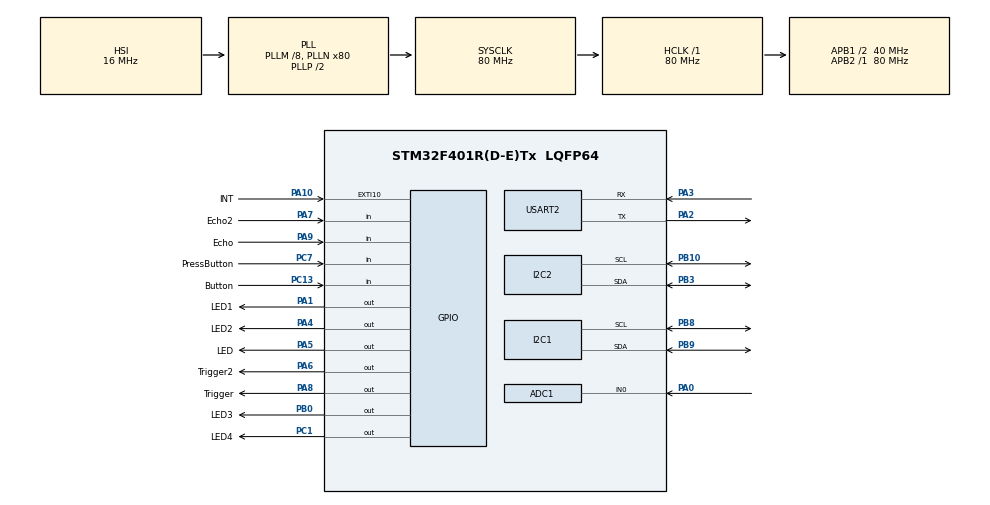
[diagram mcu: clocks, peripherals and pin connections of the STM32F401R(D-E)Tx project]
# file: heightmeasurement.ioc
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ADC1.Channel-0\#ChannelRegularConversion=ADC_CHANNEL_0
ADC1.ClockPrescaler=ADC_CLOCK_SYNC_PCLK_DIV8
ADC1.NbrOfConversionFlag=1
ADC1.Rank-0\#ChannelRegularConversion=1
ADC1.SamplingTime-0\#ChannelRegularConversion=ADC_SAMPLETIME_3CYCLES
ADC1.master=1
Mcu.Family=STM32F4
Mcu.Name=STM32F401R(D-E)Tx
Mcu.Package=LQFP64
NVIC.EXTI15_10_IRQn=true\:0\:0\:false\:false\:true\:true\:true\:true
NVIC.PriorityGroup=NVIC_PRIORITYGROUP_0
PA0-WKUP.Signal=ADCx_IN0
PA1.GPIO_Label=LED1
PA1.Signal=GPIO_Output
PA10.GPIO_Label=INT
PA10.GPIO_ModeDefaultEXTI=GPIO_MODE_IT_FALLING
PA10.GPIO_PuPd=GPIO_PULLUP
PA10.Signal=GPXTI10
PA2.Mode=Asynchronous
PA2.Signal=USART2_TX
PA3.Mode=Asynchronous
PA3.Signal=USART2_RX
PA4.GPIO_Label=LED2
PA4.Signal=GPIO_Output
PA5.GPIO_Label=LED
PA5.Signal=GPIO_Output
PA6.GPIO_Label=Trigger2
PA6.Signal=GPIO_Output
PA7.GPIO_Label=Echo2
PA7.Signal=GPIO_Input
PA8.GPIO_Label=Trigger
PA8.Signal=GPIO_Output
PA9.GPIO_Label=Echo
PA9.Signal=GPIO_Input
PB0.GPIO_Label=LED3
PB0.Signal=GPIO_Output
PB10.GPIO_Pu=GPIO_PULLUP
PB10.Mode=I2C
PB10.Signal=I2C2_SCL
PB3.GPIO_Pu=GPIO_PULLUP
PB3.Mode=I2C
PB3.Signal=I2C2_SDA
PB8.Mode=I2C
PB8.Signal=I2C1_SCL
PB9.Mode=I2C
PB9.Signal=I2C1_SDA
PC1.GPIO_Label=LED4
PC1.Signal=GPIO_Output
PC13-ANTI_TAMP.GPIO_Label=Button
PC13-ANTI_TAMP.Signal=GPIO_Input
PC7.GPIO_Label=PressButton
PC7.Signal=GPIO_Input
PH0\ -\ OSC_IN.Mode=HSE-External-Oscillator
PH0\ -\ OSC_IN.Signal=RCC_OSC_IN
PH1\ -\ OSC_OUT.Mode=HSE-External-Oscillator
PH1\ -\ OSC_OUT.Signal=RCC_OSC_OUT
ProjectManager.HeapSize=0x200
ProjectManager.StackSize=0x400
ProjectManager.TargetToolchain=STM32CubeIDE
RCC.48MHZClocksFreq_Value=22857142.85714286
RCC.AHBFreq_Value=80000000
RCC.APB1CLKDivider=RCC_HCLK_DIV2
RCC.APB1Freq_Value=40000000
RCC.APB1TimFreq_Value=80000000
RCC.APB2Freq_Value=80000000
RCC.APB2TimFreq_Value=80000000
RCC.CortexFreq_Value=80000000
RCC.HCLKFreq_Value=80000000
RCC.HSE_VALUE=8000000
RCC.HSI_VALUE=16000000
RCC.LSE_VALUE=32768
RCC.PLLM=8
RCC.PLLN=80
RCC.PLLQ=7
RCC.SYSCLKFreq_VALUE=80000000
RCC.SYSCLKSource=RCC_SYSCLKSOURCE_PLLCLK
RCC.VCOOutputFreq_Value=160000000
SH.ADCx_IN0.0=ADC1_IN0,IN0
TIM10.Prescaler=8000-1
TIM4.Prescaler=84-1
USART2.VirtualMode=VM_ASYNC
VP_TIM10_VS_ClockSourceINT.Mode=Enable_Timer
VP_TIM4_VS_ClockSourceINT.Mode=Internal
board=NUCLEO-F401RE

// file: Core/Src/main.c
/* USER CODE BEGIN Header */
/**
  ******************************************************************************
  * @file           : main.c
  * @brief          : Main program body
  ******************************************************************************
  * @attention
  *
  * Copyright (c) 2022 STMicroelectronics.
  * All rights reserved.
  *
  * This software is licensed under terms that can be found in the LICENSE file
  * in the root directory of this software component.
  * If no LICENSE file comes with this software, it is provided AS-IS.
  *
  ******************************************************************************
  */
/* USER CODE END Header */
#include "main.h"

/* USER CODE BEGIN Includes */
#include <string.h>
#include <stdio.h>
#include "MAX30102/MAX30102.h"
/* USER CODE END Includes */

/* USER CODE BEGIN PTD */
#define usTIM TIM4
/* USER CODE END PTD */

ADC_HandleTypeDef hadc1;

I2C_HandleTypeDef hi2c1;
I2C_HandleTypeDef hi2c2;

TIM_HandleTypeDef htim4;
TIM_HandleTypeDef htim10;

UART_HandleTypeDef huart2;

/* USER CODE BEGIN PV */
GPIO_PinState button;
uint32_t numTicks;
uint8_t state;
int16_t ambient_temperature;
int16_t object_temperature;
int heightdistance;
int height;
int BPM;
char uartBuf[100];
char uartBuf2[100];
/* USER CODE END PV */

void SystemClock_Config(void);
static void MX_GPIO_Init(void);
static void MX_USART2_UART_Init(void);
static void MX_TIM4_Init(void);
static void MX_ADC1_Init(void);
static void MX_TIM10_Init(void);
static void MX_I2C1_Init(void);
static void MX_I2C2_Init(void);
/* USER CODE BEGIN PFP */
void usDelay(uint32_t uSec);
void setLED();
void scanMLX90614();
int getHeight(uint32_t fixedHeight);
int isButtonLiftUp();
int isButtonHold();
/* USER CODE END PFP */

/* USER CODE BEGIN 0 */
const float speedOfSound = 0.0343/2;
const int BPM_N = 10;
char data[32] = " ";
char data1[32] = " ";
short buttonInput[2] = {0};
int BPM_final = 0;
int BPM_CNT = 0;
int spo2 = 0;
uint8_t Buffer[25] = {0};
uint8_t Space[] = " - ";
uint8_t StartMSG[] = "Starting I2C Scanning: \r\n";
uint8_t EndMSG[] = "Done! \r\n\r\n";
GPIO_TypeDef* LEDPorts[4] = {
		LED1_GPIO_Port,
		LED2_GPIO_Port,
		LED3_GPIO_Port,
		LED4_GPIO_Port
};
uint8_t LEDPins[4] = {
		LED1_Pin,
		LED2_Pin,
		LED3_Pin,
		LED4_Pin
};
void HAL_GPIO_EXTI_Callback(uint16_t GPIO_Pin)
{
	if (GPIO_Pin == INT_Pin)
	{
		Max30102_InterruptCallback();
	}
}
/* USER CODE END 0 */

int main(void)
{
  /* USER CODE BEGIN 1 */
	char uart_buf[50];
	int uart_buf_len;
	state = 0;
  /* USER CODE END 1 */

  /* MCU Configuration--------------------------------------------------------*/

  /* Reset of all peripherals, Initializes the Flash interface and the Systick. */
  HAL_Init();

  /* Configure the system clock */
  SystemClock_Config();

  /* Initialize all configured peripherals */
  MX_GPIO_Init();
  MX_USART2_UART_Init();
  MX_TIM4_Init();
  MX_ADC1_Init();
  MX_TIM10_Init();
  MX_I2C1_Init();
  MX_I2C2_Init();
  /* USER CODE BEGIN 2 */
	uint8_t data_read[4];
	uint8_t data_read1[4];
	int16_t aux;
	int16_t aux1;

	uart_buf_len = sprintf(uart_buf, "Timer\r\n");
	HAL_UART_Transmit(&huart2,(uint8_t *)uart_buf, uart_buf_len, 100);

	//Start timer
	HAL_TIM_Base_Start(&htim10);

	HAL_ADC_Start(&hadc1);

	uint16_t timer_val;

	int nb_beat=0;
	int ang_sensor_old=0;
	int ang_sensor;

	int ok=0;
	int BPM_list[30];

	if (Max30102_Init(&hi2c2) == MAX30102_ERROR) {
		uart_buf_len = sprintf(uart_buf, "Initialize max30102 not working!");
		HAL_UART_Transmit(&huart2, (uint8_t *)uart_buf, uart_buf_len, 100);
		exit(0);
	}
	uart_buf_len = sprintf(uart_buf, "Initialized max30102 successfully");
	HAL_UART_Transmit(&huart2, (uint8_t *)uart_buf, uart_buf_len, 100);
	int curint = HAL_GPIO_ReadPin(GPIOA, GPIO_PIN_10);
  /* USER CODE END 2 */

  /* Infinite loop */
  /* USER CODE BEGIN WHILE */
//  scanMLX90614();
  while (1)
  {
    /* USER CODE END WHILE */

    /* USER CODE BEGIN 3 */
    buttonInput[1] = HAL_GPIO_ReadPin(PressButton_GPIO_Port, PressButton_Pin);

    setLED();

	switch(state)
	{
		case 0:
			if(isButtonHold())
			{
				height = getHeight(200);
			}
			break;
		case 1:
			if(isButtonHold())
			{
				HAL_I2C_Mem_Read(&hi2c1,(0x5A<<1), 0x06, 1, (uint8_t *)data_read, 2, 100);

				aux = (int16_t) ((data_read[1] << 8) | data_read[0]);
				ambient_temperature = aux * 0.02 - 273.15;

				HAL_Delay(100);

				HAL_I2C_Mem_Read(&hi2c1,(0x5A<<1), 0x07, 1, (uint8_t *)data_read1, 2, 100);

				aux1 = (int16_t) ((data_read1[1] << 8) | data_read1[0]);
				object_temperature = aux1 * 0.02 - 273.15;

				HAL_Delay(100);

//				sprintf(data,"\n\r \f Ambient = %d \n\r", ambient_temperature);
//
//				sprintf(data1,"\f Object = %d \n\r", ambient_temperature1);
//
//				HAL_UART_Transmit(&huart2, (uint8_t*)data, strlen(data), 1000);
//				HAL_UART_Transmit(&huart2, (uint8_t*)data1, strlen(data1), 1000);
			}
			break;
		case 2:
			{
				HAL_ADC_Start(&hadc1);
				if(BPM_CNT < BPM_N)
				{
					if (HAL_ADC_PollForConversion(&hadc1, 1000) == HAL_OK)
					{
						ang_sensor = HAL_ADC_GetValue(&hadc1);

						// Serial plotter debug
//						uart_buf_len = sprintf(uart_buf, "%d, %d \r\n", ang_sensor,ok);
//						HAL_UART_Transmit(&huart2, (uint8_t *)uart_buf, uart_buf_len, 100);

						ok = (int) (ang_sensor>2100 && ang_sensor>ang_sensor_old);

						if(nb_beat==0 && ok==1)
						{
							timer_val=__HAL_TIM_GET_COUNTER(&htim10);
							nb_beat=1;
						}
						if(nb_beat==1 && ok==0)
						{
							timer_val = __HAL_TIM_GET_COUNTER(&htim10) - timer_val;

							nb_beat=0;

							BPM = (int) ((timer_val/1000.0)*60);

							if(BPM>=40 && BPM<=120)
							{
								BPM_list[BPM_CNT++] = BPM;
								// CubeIDE Serial Monitor
								uart_buf_len = sprintf(uart_buf, "%d \r\n", BPM);
								HAL_UART_Transmit(&huart2, (uint8_t *)uart_buf, uart_buf_len, 100);
							}
						}
						ang_sensor = ang_sensor_old;
					}
				}

				else if (BPM_final == 0)
				{
					for (int j = 0;j < BPM_N; j++)
					{
						BPM_final += BPM_list[j];
					}
					BPM_final /= BPM_N;
				}
				else
				{
					uart_buf_len = sprintf(uart_buf, "Heart Rate Finished \r\n");
					HAL_UART_Transmit(&huart2, (uint8_t *)uart_buf, uart_buf_len, 100);
				}
			}
			break;
		case 3:
			Max30102_Task();

			int curr_spo2 = Max30102_GetSpO2Value();
			uart_buf_len = sprintf(uart_buf, "SpO2: %d \r\n", curr_spo2);
			if(50 <= curr_spo2 && curr_spo2 <= 100) {
				spo2 = curr_spo2;
			}

			HAL_UART_Transmit(&huart2, (uint8_t *)uart_buf, uart_buf_len, 100);
			if (HAL_GPIO_ReadPin(GPIOA, GPIO_PIN_9) == GPIO_PIN_RESET && curint == GPIO_PIN_SET) {
				Max30102_InterruptCallback();
			}
			curint = HAL_GPIO_ReadPin(GPIOA, GPIO_PIN_9);
			break;
		default:
			uart_buf_len = sprintf(uart_buf, "Height: %d m\r\n", height);
			HAL_UART_Transmit(&huart2, (uint8_t *)uart_buf, uart_buf_len, 100);
			uart_buf_len = sprintf(uart_buf, "Body Temperature: %d c\r\n", object_temperature);
			HAL_UART_Transmit(&huart2, (uint8_t *)uart_buf, uart_buf_len, 100);
			uart_buf_len = sprintf(uart_buf, "Heart Rate: %d BPM\r\n", BPM_final);
			HAL_UART_Transmit(&huart2, (uint8_t *)uart_buf, uart_buf_len, 100);
			uart_buf_len = sprintf(uart_buf, "Blood Oxygen: %d \% \r\n", spo2);
			HAL_UART_Transmit(&huart2, (uint8_t *)uart_buf, uart_buf_len, 100);
			exit(0);
	}

	if(isButtonLiftUp() && (state != 2 || BPM_final != 0)) state += 1;

	if(state == 2) {
		HAL_Delay(10);
	}
	else {
		HAL_Delay(100);
	}

	buttonInput[0] = buttonInput[1];

  }
  /* USER CODE END 3 */
}

void SystemClock_Config(void)
{
  RCC_OscInitTypeDef RCC_OscInitStruct = {0};
  RCC_ClkInitTypeDef RCC_ClkInitStruct = {0};

  /** Configure the main internal regulator output voltage
  */
  __HAL_RCC_PWR_CLK_ENABLE();
  __HAL_PWR_VOLTAGESCALING_CONFIG(PWR_REGULATOR_VOLTAGE_SCALE2);

  /** Initializes the RCC Oscillators according to the specified parameters
  * in the RCC_OscInitTypeDef structure.
  */
  RCC_OscInitStruct.OscillatorType = RCC_OSCILLATORTYPE_HSI;
  RCC_OscInitStruct.HSIState = RCC_HSI_ON;
  RCC_OscInitStruct.HSICalibrationValue = RCC_HSICALIBRATION_DEFAULT;
  RCC_OscInitStruct.PLL.PLLState = RCC_PLL_ON;
  RCC_OscInitStruct.PLL.PLLSource = RCC_PLLSOURCE_HSI;
  RCC_OscInitStruct.PLL.PLLM = 8;
  RCC_OscInitStruct.PLL.PLLN = 80;
  RCC_OscInitStruct.PLL.PLLP = RCC_PLLP_DIV2;
  RCC_OscInitStruct.PLL.PLLQ = 7;
  if (HAL_RCC_OscConfig(&RCC_OscInitStruct) != HAL_OK)
  {
    Error_Handler();
  }

  /** Initializes the CPU, AHB and APB buses clocks
  */
  RCC_ClkInitStruct.ClockType = RCC_CLOCKTYPE_HCLK|RCC_CLOCKTYPE_SYSCLK
                              |RCC_CLOCKTYPE_PCLK1|RCC_CLOCKTYPE_PCLK2;
  RCC_ClkInitStruct.SYSCLKSource = RCC_SYSCLKSOURCE_PLLCLK;
  RCC_ClkInitStruct.AHBCLKDivider = RCC_SYSCLK_DIV1;
  RCC_ClkInitStruct.APB1CLKDivider = RCC_HCLK_DIV2;
  RCC_ClkInitStruct.APB2CLKDivider = RCC_HCLK_DIV1;

  if (HAL_RCC_ClockConfig(&RCC_ClkInitStruct, FLASH_LATENCY_2) != HAL_OK)
  {
    Error_Handler();
  }
}

static void MX_ADC1_Init(void)
{

  ADC_ChannelConfTypeDef sConfig = {0};

  /** Configure the global features of the ADC (Clock, Resolution, Data Alignment and number of conversion)
  */
  hadc1.Instance = ADC1;
  hadc1.Init.ClockPrescaler = ADC_CLOCK_SYNC_PCLK_DIV8;
  hadc1.Init.Resolution = ADC_RESOLUTION_12B;
  hadc1.Init.ScanConvMode = DISABLE;
  hadc1.Init.ContinuousConvMode = DISABLE;
  hadc1.Init.DiscontinuousConvMode = DISABLE;
  hadc1.Init.ExternalTrigConvEdge = ADC_EXTERNALTRIGCONVEDGE_NONE;
  hadc1.Init.ExternalTrigConv = ADC_SOFTWARE_START;
  hadc1.Init.DataAlign = ADC_DATAALIGN_RIGHT;
  hadc1.Init.NbrOfConversion = 1;
  hadc1.Init.DMAContinuousRequests = DISABLE;
  hadc1.Init.EOCSelection = ADC_EOC_SINGLE_CONV;
  if (HAL_ADC_Init(&hadc1) != HAL_OK)
  {
    Error_Handler();
  }

  /** Configure for the selected ADC regular channel its corresponding rank in the sequencer and its sample time.
  */
  sConfig.Channel = ADC_CHANNEL_0;
  sConfig.Rank = 1;
  sConfig.SamplingTime = ADC_SAMPLETIME_3CYCLES;
  if (HAL_ADC_ConfigChannel(&hadc1, &sConfig) != HAL_OK)
  {
    Error_Handler();
  }

}

static void MX_I2C1_Init(void)
{

  hi2c1.Instance = I2C1;
  hi2c1.Init.ClockSpeed = 100000;
  hi2c1.Init.DutyCycle = I2C_DUTYCYCLE_2;
  hi2c1.Init.OwnAddress1 = 0;
  hi2c1.Init.AddressingMode = I2C_ADDRESSINGMODE_7BIT;
  hi2c1.Init.DualAddressMode = I2C_DUALADDRESS_DISABLE;
  hi2c1.Init.OwnAddress2 = 0;
  hi2c1.Init.GeneralCallMode = I2C_GENERALCALL_DISABLE;
  hi2c1.Init.NoStretchMode = I2C_NOSTRETCH_DISABLE;
  if (HAL_I2C_Init(&hi2c1) != HAL_OK)
  {
    Error_Handler();
  }

}

static void MX_I2C2_Init(void)
{

  hi2c2.Instance = I2C2;
  hi2c2.Init.ClockSpeed = 100000;
  hi2c2.Init.DutyCycle = I2C_DUTYCYCLE_2;
  hi2c2.Init.OwnAddress1 = 0;
  hi2c2.Init.AddressingMode = I2C_ADDRESSINGMODE_7BIT;
  hi2c2.Init.DualAddressMode = I2C_DUALADDRESS_DISABLE;
  hi2c2.Init.OwnAddress2 = 0;
  hi2c2.Init.GeneralCallMode = I2C_GENERALCALL_DISABLE;
  hi2c2.Init.NoStretchMode = I2C_NOSTRETCH_DISABLE;
  if (HAL_I2C_Init(&hi2c2) != HAL_OK)
  {
    Error_Handler();
  }

}

static void MX_TIM4_Init(void)
{

  TIM_ClockConfigTypeDef sClockSourceConfig = {0};
  TIM_MasterConfigTypeDef sMasterConfig = {0};

  htim4.Instance = TIM4;
  htim4.Init.Prescaler = 84-1;
  htim4.Init.CounterMode = TIM_COUNTERMODE_UP;
  htim4.Init.Period = 65535;
  htim4.Init.ClockDivision = TIM_CLOCKDIVISION_DIV1;
  htim4.Init.AutoReloadPreload = TIM_AUTORELOAD_PRELOAD_DISABLE;
  if (HAL_TIM_Base_Init(&htim4) != HAL_OK)
  {
    Error_Handler();
  }
  sClockSourceConfig.ClockSource = TIM_CLOCKSOURCE_INTERNAL;
  if (HAL_TIM_ConfigClockSource(&htim4, &sClockSourceConfig) != HAL_OK)
  {
    Error_Handler();
  }
  sMasterConfig.MasterOutputTrigger = TIM_TRGO_RESET;
  sMasterConfig.MasterSlaveMode = TIM_MASTERSLAVEMODE_DISABLE;
  if (HAL_TIMEx_MasterConfigSynchronization(&htim4, &sMasterConfig) != HAL_OK)
  {
    Error_Handler();
  }

}

static void MX_TIM10_Init(void)
{

  htim10.Instance = TIM10;
  htim10.Init.Prescaler = 8000-1;
  htim10.Init.CounterMode = TIM_COUNTERMODE_UP;
  htim10.Init.Period = 65535;
  htim10.Init.ClockDivision = TIM_CLOCKDIVISION_DIV1;
  htim10.Init.AutoReloadPreload = TIM_AUTORELOAD_PRELOAD_DISABLE;
  if (HAL_TIM_Base_Init(&htim10) != HAL_OK)
  {
    Error_Handler();
  }

}

static void MX_USART2_UART_Init(void)
{

  huart2.Instance = USART2;
  huart2.Init.BaudRate = 115200;
  huart2.Init.WordLength = UART_WORDLENGTH_8B;
  huart2.Init.StopBits = UART_STOPBITS_1;
  huart2.Init.Parity = UART_PARITY_NONE;
  huart2.Init.Mode = UART_MODE_TX_RX;
  huart2.Init.HwFlowCtl = UART_HWCONTROL_NONE;
  huart2.Init.OverSampling = UART_OVERSAMPLING_16;
  if (HAL_UART_Init(&huart2) != HAL_OK)
  {
    Error_Handler();
  }

}

static void MX_GPIO_Init(void)
{
  GPIO_InitTypeDef GPIO_InitStruct = {0};

  /* GPIO Ports Clock Enable */
  __HAL_RCC_GPIOC_CLK_ENABLE();
  __HAL_RCC_GPIOH_CLK_ENABLE();
  __HAL_RCC_GPIOA_CLK_ENABLE();
  __HAL_RCC_GPIOB_CLK_ENABLE();

  /*Configure GPIO pin Output Level */
  HAL_GPIO_WritePin(LED4_GPIO_Port, LED4_Pin, GPIO_PIN_RESET);

  /*Configure GPIO pin Output Level */
  HAL_GPIO_WritePin(GPIOA, LED1_Pin|LED2_Pin|LED_Pin|Trigger2_Pin
                          |Trigger_Pin, GPIO_PIN_RESET);

  /*Configure GPIO pin Output Level */
  HAL_GPIO_WritePin(LED3_GPIO_Port, LED3_Pin, GPIO_PIN_RESET);

  /*Configure GPIO pins : Button_Pin PressButton_Pin */
  GPIO_InitStruct.Pin = Button_Pin|PressButton_Pin;
  GPIO_InitStruct.Mode = GPIO_MODE_INPUT;
  GPIO_InitStruct.Pull = GPIO_NOPULL;
  HAL_GPIO_Init(GPIOC, &GPIO_InitStruct);

  /*Configure GPIO pin : LED4_Pin */
  GPIO_InitStruct.Pin = LED4_Pin;
  GPIO_InitStruct.Mode = GPIO_MODE_OUTPUT_PP;
  GPIO_InitStruct.Pull = GPIO_NOPULL;
  GPIO_InitStruct.Speed = GPIO_SPEED_FREQ_LOW;
  HAL_GPIO_Init(LED4_GPIO_Port, &GPIO_InitStruct);

  /*Configure GPIO pins : LED1_Pin LED2_Pin LED_Pin Trigger2_Pin
                           Trigger_Pin */
  GPIO_InitStruct.Pin = LED1_Pin|LED2_Pin|LED_Pin|Trigger2_Pin
                          |Trigger_Pin;
  GPIO_InitStruct.Mode = GPIO_MODE_OUTPUT_PP;
  GPIO_InitStruct.Pull = GPIO_NOPULL;
  GPIO_InitStruct.Speed = GPIO_SPEED_FREQ_LOW;
  HAL_GPIO_Init(GPIOA, &GPIO_InitStruct);

  /*Configure GPIO pins : Echo2_Pin Echo_Pin */
  GPIO_InitStruct.Pin = Echo2_Pin|Echo_Pin;
  GPIO_InitStruct.Mode = GPIO_MODE_INPUT;
  GPIO_InitStruct.Pull = GPIO_NOPULL;
  HAL_GPIO_Init(GPIOA, &GPIO_InitStruct);

  /*Configure GPIO pin : LED3_Pin */
  GPIO_InitStruct.Pin = LED3_Pin;
  GPIO_InitStruct.Mode = GPIO_MODE_OUTPUT_PP;
  GPIO_InitStruct.Pull = GPIO_NOPULL;
  GPIO_InitStruct.Speed = GPIO_SPEED_FREQ_LOW;
  HAL_GPIO_Init(LED3_GPIO_Port, &GPIO_InitStruct);

  /*Configure GPIO pin : INT_Pin */
  GPIO_InitStruct.Pin = INT_Pin;
  GPIO_InitStruct.Mode = GPIO_MODE_IT_FALLING;
  GPIO_InitStruct.Pull = GPIO_PULLUP;
  HAL_GPIO_Init(INT_GPIO_Port, &GPIO_InitStruct);

  /* EXTI interrupt init*/
  HAL_NVIC_SetPriority(EXTI15_10_IRQn, 0, 0);
  HAL_NVIC_EnableIRQ(EXTI15_10_IRQn);

}

/* USER CODE BEGIN 4 */
void usDelay(uint32_t uSec) {
	if(uSec < 2) uSec = 2;
	usTIM->ARR = uSec - 1; 	/*sets the value in the auto-reload register*/
	usTIM->EGR = 1; 			/*Re-initialises the timer*/
	usTIM->SR &= ~1; 		//Resets the flag
	usTIM->CR1 |= 1; 		//Enables the counter
	while((usTIM->SR&0x0001) != 1);
	usTIM->SR &= ~(0x0001);
}

int getHeight(uint32_t fixedHeight) {
  int loop;
  int maxloop =10000;
	HAL_GPIO_WritePin(Trigger_GPIO_Port, Trigger_Pin, GPIO_PIN_RESET);
	//set TRIG to LOW for few uSec
	 usDelay(3);
	//*** START Ultrasonic measure routine ***//
	 HAL_GPIO_WritePin(Trigger_GPIO_Port, Trigger_Pin, GPIO_PIN_SET);
	 usDelay(10);

	 HAL_GPIO_WritePin(Trigger_GPIO_Port, Trigger_Pin, GPIO_PIN_RESET);

	//what for ECHO pin rising edge
	 loop = 0;
	 while(HAL_GPIO_ReadPin(Echo_GPIO_Port, Echo_Pin) == GPIO_PIN_RESET) {
		 loop++;
		 if (loop > maxloop) {
			 return 0;
			 break;
		 }
	 }
	 //start measuring ECHO pulse width in usec
	 numTicks = 0;
	 while(HAL_GPIO_ReadPin(Echo_GPIO_Port, Echo_Pin) == GPIO_PIN_SET)
	 {
		 numTicks++;
		 usDelay(2); //2.8 usec
	 };
	 //estimate distance in cm
	 heightdistance = (numTicks + 0.0f)*2.8*speedOfSound;
	 return fixedHeight - heightdistance;

}

void setLED() {
    for(int i = 0; i < 4; i++) {
    	if(i == 2) {
    		HAL_GPIO_WritePin(LEDPorts[i], LEDPins[i], state == 2 && (BPM_CNT%2 || BPM_final != 0));
    	}
    	else {
    		HAL_GPIO_WritePin(LEDPorts[i], LEDPins[i], i == state);
    	}
    }
}

int isButtonHold() {
	return buttonInput[0] == buttonInput[1] && buttonInput[0] == 1;
}

int isButtonLiftUp() {
	return buttonInput[0] == 1 && buttonInput[1] == 0;
}

void scanMLX90614() {
	HAL_StatusTypeDef HAL_STATUS;
	HAL_STATUS = HAL_I2C_IsDeviceReady(&hi2c1, (0x5A), 4, 100);
	if(HAL_STATUS==HAL_OK){
	  HAL_GPIO_WritePin(GPIOA, GPIO_PIN_5, GPIO_PIN_SET);
	  HAL_Delay(3000);
	  HAL_GPIO_WritePin(GPIOA, GPIO_PIN_5, GPIO_PIN_RESET);
	}

	uint8_t i = 0, ret;

	HAL_Delay(1000);

	/*-[ I2C Bus Scanning ]-*/
	HAL_UART_Transmit(&huart2, StartMSG, sizeof(StartMSG), 10000);
	for(i=1; i<128; i++)
	{
	  ret = HAL_I2C_IsDeviceReady(&hi2c1, (uint16_t)(i<<1), 3, 5);
	  if (ret != HAL_OK) /* No ACK Received At That Address */
	  {
		  HAL_UART_Transmit(&huart2, Space, sizeof(Space), 10000);
	  }
	  else if(ret == HAL_OK)
	  {
		  sprintf(Buffer, "0x%X", i);
		  HAL_UART_Transmit(&huart2, Buffer, sizeof(Buffer), 10000);
	  }
	}
	HAL_UART_Transmit(&huart2, EndMSG, sizeof(EndMSG), 10000);
}
/* USER CODE END 4 */

void Error_Handler(void)
{
  __disable_irq();
  while (1)
  {
  }
}
